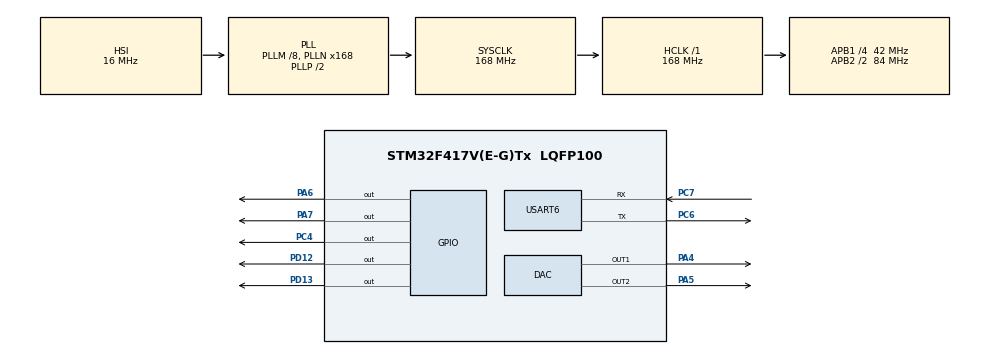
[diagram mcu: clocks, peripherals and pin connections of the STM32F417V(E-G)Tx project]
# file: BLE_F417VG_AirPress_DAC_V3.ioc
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Mcu.Family=STM32F4
SH.COMP_DAC1_group.0=DAC_OUT1,DAC_OUT1
RCC.CortexFreq_Value=168000000
PC4.PinState=GPIO_PIN_SET
DAC.DAC_OutputBuffer2=DAC_OUTPUTBUFFER_ENABLE
VP_IWDG_VS_IWDG.Mode=IWDG_Activate
PC4.Signal=GPIO_Output
PC6.Signal=USART6_TX
PA6.PinState=GPIO_PIN_RESET
RCC.APB1CLKDivider=RCC_HCLK_DIV4
RCC.SYSCLKSource=RCC_SYSCLKSOURCE_PLLCLK
ProjectManager.StackSize=0x400
SH.COMP_DAC2_group.0=DAC_OUT2,DAC_OUT2
NVIC.USART6_IRQn=true\:0\:0\:false\:false\:true\:true\:true
PD13.Signal=GPIO_Output
ProjectManager.TargetToolchain=STM32CubeIDE
PC6.Mode=Asynchronous
RCC.HCLKFreq_Value=168000000
RCC.APB2TimFreq_Value=168000000
PC7.Signal=USART6_RX
RCC.LSE_VALUE=32768
PA7.GPIO_PuPd=GPIO_PULLDOWN
RCC.AHBFreq_Value=168000000
PA5.Signal=COMP_DAC2_group
RCC.HSE_VALUE=25000000
board=custom
RCC.VCOOutputFreq_Value=336000000
RCC.APB2Freq_Value=84000000
PA6.GPIO_PuPd=GPIO_PULLDOWN
VP_TIM2_VS_ClockSourceINT.Mode=Internal
NVIC.TIM2_IRQn=true\:0\:0\:false\:false\:true\:true\:true
DAC.DAC_OutputBuffer=DAC_OUTPUTBUFFER_ENABLE
TIM2.Period=5000-1
Mcu.Name=STM32F417V(E-G)Tx
RCC.48MHZClocksFreq_Value=84000000
PA4.Signal=COMP_DAC1_group
RCC.SYSCLKFreq_VALUE=168000000
Mcu.Package=LQFP100
TIM2.Prescaler=8400-1
PA6.Signal=GPIO_Output
USART6.VirtualMode=VM_ASYNC
PD12.Signal=GPIO_Output
IWDG.Reload=3750
ProjectManager.HeapSize=0x200
RCC.HSI_VALUE=16000000
NVIC.PriorityGroup=NVIC_PRIORITYGROUP_4
RCC.APB2CLKDivider=RCC_HCLK_DIV2
RCC.PLLM=8
RCC.PLLN=168
IWDG.Prescaler=IWDG_PRESCALER_128
RCC.APB1TimFreq_Value=84000000
PC7.Mode=Asynchronous
RCC.APB1Freq_Value=42000000
PA7.Signal=GPIO_Output

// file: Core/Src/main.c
/* USER CODE BEGIN Header */
/**
  ******************************************************************************
  * @file           : main.c
  * @brief          : Main program body
  ******************************************************************************
  * @attention
  *
  * <h2><center>&copy; Copyright (c) 2020 STMicroelectronics.
  * All rights reserved.</center></h2>
  *
  * This software component is licensed by ST under BSD 3-Clause license,
  * the "License"; You may not use this file except in compliance with the
  * License. You may obtain a copy of the License at:
  *                        opensource.org/licenses/BSD-3-Clause
  *
  ******************************************************************************
  *PCB Version: F417_DAC_V2
  */
/* USER CODE END Header */
#include "main.h"

/* USER CODE BEGIN PTD */
//TODO:--Wayne20210617
USART_BLE USARTBLE;
DAC_t DAConv;
/* USER CODE END PTD */

DAC_HandleTypeDef hdac;

IWDG_HandleTypeDef hiwdg;

TIM_HandleTypeDef htim2;

UART_HandleTypeDef huart6;

void SystemClock_Config(void);
static void MX_GPIO_Init(void);
static void MX_DAC_Init(void);
static void MX_TIM2_Init(void);
static void MX_USART6_UART_Init(void);
static void MX_IWDG_Init(void);

int main(void)
{

  /* MCU Configuration--------------------------------------------------------*/

  /* Reset of all peripherals, Initializes the Flash interface and the Systick. */
  HAL_Init();

  /* Configure the system clock */
  SystemClock_Config();

  /* Initialize all configured peripherals */
  MX_GPIO_Init();
  MX_DAC_Init();
  MX_TIM2_Init();
  MX_USART6_UART_Init();
  MX_IWDG_Init();
  /* USER CODE BEGIN 2 */
  HAL_GPIO_WritePin(RLED_Port, RLED, GPIO_PIN_SET); //set LED3 for connecting
  //TODO:--Wayne2021017
  HAL_TIM_Base_Start_IT(&htim2);//UART TIM
   /*##- Enable DAC Channel1 ################################################*/
  //Start DAC
  HAL_DAC_Start(&hdac, DAC_CHANNEL_1);
  HAL_DAC_Start(&hdac, DAC_CHANNEL_2);
//  BLE_Status_Init(&huart6);
  USARTBLE.Status = Connecting;	//init BLE Status
  //initial LoRa receive interrupt flag
  while(HAL_UART_Receive_IT(&huart6 ,&USARTBLE.Rbuffer,1)!=HAL_OK);
  /* USER CODE END 2 */

  /* Infinite loop */
  while (1)
  {

    /* USER CODE BEGIN 3 */
	 //TODO:--Wayne2021017
     BLE_USART(&huart6);
     /*##-1- Set DAC channel1 DHR12RD register ################################################*/
	 HAL_DAC_SetValue(&hdac, DAC_CHANNEL_1, DAC_ALIGN_12B_R, DAConv.DACDataInt[0]);
	 HAL_DAC_SetValue(&hdac, DAC_CHANNEL_2, DAC_ALIGN_12B_R, DAConv.DACDataInt[1]);
	 //IWDG_Refresh, reload:15sec
	 HAL_IWDG_Refresh(&hiwdg);
  }
  /* USER CODE END 3 */
}

void SystemClock_Config(void)
{
  RCC_OscInitTypeDef RCC_OscInitStruct = {0};
  RCC_ClkInitTypeDef RCC_ClkInitStruct = {0};

  /** Configure the main internal regulator output voltage
  */
  __HAL_RCC_PWR_CLK_ENABLE();
  __HAL_PWR_VOLTAGESCALING_CONFIG(PWR_REGULATOR_VOLTAGE_SCALE1);
  /** Initializes the RCC Oscillators according to the specified parameters
  * in the RCC_OscInitTypeDef structure.
  */
  RCC_OscInitStruct.OscillatorType = RCC_OSCILLATORTYPE_HSI|RCC_OSCILLATORTYPE_LSI;
  RCC_OscInitStruct.HSIState = RCC_HSI_ON;
  RCC_OscInitStruct.HSICalibrationValue = RCC_HSICALIBRATION_DEFAULT;
  RCC_OscInitStruct.LSIState = RCC_LSI_ON;
  RCC_OscInitStruct.PLL.PLLState = RCC_PLL_ON;
  RCC_OscInitStruct.PLL.PLLSource = RCC_PLLSOURCE_HSI;
  RCC_OscInitStruct.PLL.PLLM = 8;
  RCC_OscInitStruct.PLL.PLLN = 168;
  RCC_OscInitStruct.PLL.PLLP = RCC_PLLP_DIV2;
  RCC_OscInitStruct.PLL.PLLQ = 4;
  if (HAL_RCC_OscConfig(&RCC_OscInitStruct) != HAL_OK)
  {
    Error_Handler();
  }
  /** Initializes the CPU, AHB and APB buses clocks
  */
  RCC_ClkInitStruct.ClockType = RCC_CLOCKTYPE_HCLK|RCC_CLOCKTYPE_SYSCLK
                              |RCC_CLOCKTYPE_PCLK1|RCC_CLOCKTYPE_PCLK2;
  RCC_ClkInitStruct.SYSCLKSource = RCC_SYSCLKSOURCE_PLLCLK;
  RCC_ClkInitStruct.AHBCLKDivider = RCC_SYSCLK_DIV1;
  RCC_ClkInitStruct.APB1CLKDivider = RCC_HCLK_DIV4;
  RCC_ClkInitStruct.APB2CLKDivider = RCC_HCLK_DIV2;

  if (HAL_RCC_ClockConfig(&RCC_ClkInitStruct, FLASH_LATENCY_5) != HAL_OK)
  {
    Error_Handler();
  }
}

static void MX_DAC_Init(void)
{

  DAC_ChannelConfTypeDef sConfig = {0};

  /** DAC Initialization
  */
  hdac.Instance = DAC;
  if (HAL_DAC_Init(&hdac) != HAL_OK)
  {
    Error_Handler();
  }
  /** DAC channel OUT1 config
  */
  sConfig.DAC_Trigger = DAC_TRIGGER_NONE;
  sConfig.DAC_OutputBuffer = DAC_OUTPUTBUFFER_ENABLE;
  if (HAL_DAC_ConfigChannel(&hdac, &sConfig, DAC_CHANNEL_1) != HAL_OK)
  {
    Error_Handler();
  }
  /** DAC channel OUT2 config
  */
  if (HAL_DAC_ConfigChannel(&hdac, &sConfig, DAC_CHANNEL_2) != HAL_OK)
  {
    Error_Handler();
  }

}

static void MX_IWDG_Init(void)
{

  hiwdg.Instance = IWDG;
  hiwdg.Init.Prescaler = IWDG_PRESCALER_128;
  hiwdg.Init.Reload = 3750;
  if (HAL_IWDG_Init(&hiwdg) != HAL_OK)
  {
    Error_Handler();
  }

}

static void MX_TIM2_Init(void)
{

  TIM_ClockConfigTypeDef sClockSourceConfig = {0};
  TIM_MasterConfigTypeDef sMasterConfig = {0};

  htim2.Instance = TIM2;
  htim2.Init.Prescaler = 8400-1;
  htim2.Init.CounterMode = TIM_COUNTERMODE_UP;
  htim2.Init.Period = 5000-1;
  htim2.Init.ClockDivision = TIM_CLOCKDIVISION_DIV1;
  htim2.Init.AutoReloadPreload = TIM_AUTORELOAD_PRELOAD_DISABLE;
  if (HAL_TIM_Base_Init(&htim2) != HAL_OK)
  {
    Error_Handler();
  }
  sClockSourceConfig.ClockSource = TIM_CLOCKSOURCE_INTERNAL;
  if (HAL_TIM_ConfigClockSource(&htim2, &sClockSourceConfig) != HAL_OK)
  {
    Error_Handler();
  }
  sMasterConfig.MasterOutputTrigger = TIM_TRGO_RESET;
  sMasterConfig.MasterSlaveMode = TIM_MASTERSLAVEMODE_DISABLE;
  if (HAL_TIMEx_MasterConfigSynchronization(&htim2, &sMasterConfig) != HAL_OK)
  {
    Error_Handler();
  }
  /* USER CODE BEGIN TIM2_Init 2 */
  __HAL_TIM_CLEAR_FLAG(&htim2, TIM_SR_UIF);//clear timer flag to reload count
  /* USER CODE END TIM2_Init 2 */

}

static void MX_USART6_UART_Init(void)
{

  huart6.Instance = USART6;
  huart6.Init.BaudRate = 115200;
  huart6.Init.WordLength = UART_WORDLENGTH_8B;
  huart6.Init.StopBits = UART_STOPBITS_1;
  huart6.Init.Parity = UART_PARITY_NONE;
  huart6.Init.Mode = UART_MODE_TX_RX;
  huart6.Init.HwFlowCtl = UART_HWCONTROL_NONE;
  huart6.Init.OverSampling = UART_OVERSAMPLING_16;
  if (HAL_UART_Init(&huart6) != HAL_OK)
  {
    Error_Handler();
  }

}

static void MX_GPIO_Init(void)
{
  GPIO_InitTypeDef GPIO_InitStruct = {0};

  /* GPIO Ports Clock Enable */
  __HAL_RCC_GPIOA_CLK_ENABLE();
  __HAL_RCC_GPIOC_CLK_ENABLE();
  __HAL_RCC_GPIOD_CLK_ENABLE();

  /*Configure GPIO pin Output Level */
  HAL_GPIO_WritePin(GPIOA, GPIO_PIN_6|GPIO_PIN_7, GPIO_PIN_RESET);

  /*Configure GPIO pin Output Level */
  HAL_GPIO_WritePin(GPIOC, GPIO_PIN_4, GPIO_PIN_SET);

  /*Configure GPIO pin Output Level */
  HAL_GPIO_WritePin(GPIOD, GPIO_PIN_12|GPIO_PIN_13, GPIO_PIN_RESET);

  /*Configure GPIO pins : PA6 PA7 */
  GPIO_InitStruct.Pin = GPIO_PIN_6|GPIO_PIN_7;
  GPIO_InitStruct.Mode = GPIO_MODE_OUTPUT_PP;
  GPIO_InitStruct.Pull = GPIO_PULLDOWN;
  GPIO_InitStruct.Speed = GPIO_SPEED_FREQ_LOW;
  HAL_GPIO_Init(GPIOA, &GPIO_InitStruct);

  /*Configure GPIO pin : PC4 */
  GPIO_InitStruct.Pin = GPIO_PIN_4;
  GPIO_InitStruct.Mode = GPIO_MODE_OUTPUT_PP;
  GPIO_InitStruct.Pull = GPIO_NOPULL;
  GPIO_InitStruct.Speed = GPIO_SPEED_FREQ_LOW;
  HAL_GPIO_Init(GPIOC, &GPIO_InitStruct);

  /*Configure GPIO pins : PD12 PD13 */
  GPIO_InitStruct.Pin = GPIO_PIN_12|GPIO_PIN_13;
  GPIO_InitStruct.Mode = GPIO_MODE_OUTPUT_PP;
  GPIO_InitStruct.Pull = GPIO_NOPULL;
  GPIO_InitStruct.Speed = GPIO_SPEED_FREQ_LOW;
  HAL_GPIO_Init(GPIOD, &GPIO_InitStruct);

}

/* USER CODE BEGIN 4 */
//TODO:--Wayne2021017
void HAL_TIM_PeriodElapsedCallback(TIM_HandleTypeDef *htim)//--Wayne20200130
{
	 if (htim->Instance == htim2.Instance) //per 500ms
	 {
		 USARTBLE.sendflag = 1;
		 USARTBLE.ConTimeOutflag = 1;
	 }
}
/**
  * @brief Rx Transfer completed callbacks
  * @param huart: uart handle
  * @retval None
  */
void HAL_UART_RxCpltCallback(UART_HandleTypeDef *huart)
{
  /* Prevent unused argument(s) compilation warning */
  UNUSED(huart6);

  /* NOTE : This function should not be modified, when the callback is needed,
            the HAL_UART_RxCpltCallback can be implemented in the user file
   */
  USARTBLE.RevData[USARTBLE.RxCount++]= USARTBLE.Rbuffer;
  if(USARTBLE.Rbuffer==0x0A)
  	{
	  USARTBLE.Revflag = 1;
	  USARTBLE.RxCount=0;
  	}
  	if(USARTBLE.RxCount>=24)
  	{
  		USARTBLE.RxCount=0;
  		memset( USARTBLE.RevData, 0, strlen(USARTBLE.RevData) ); //clear Receive data
  	}

  while(HAL_UART_Receive_IT(&huart6,&USARTBLE.Rbuffer,1)!=HAL_OK);
}
/* USER CODE END 4 */

void Error_Handler(void)
{
}

/************************ (C) COPYRIGHT STMicroelectronics *****END OF FILE****/
